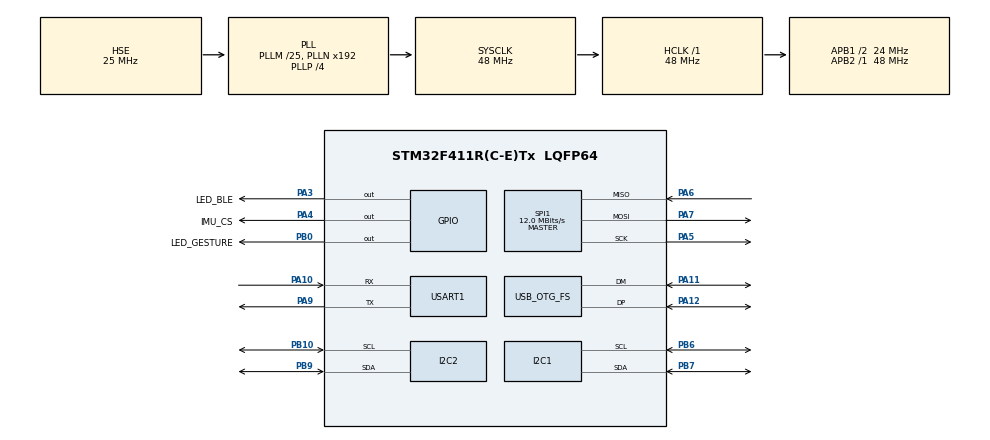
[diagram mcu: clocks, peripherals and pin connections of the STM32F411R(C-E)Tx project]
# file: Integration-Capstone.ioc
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I2C1.I2C_Mode=I2C_Fast
I2C2.I2C_Mode=I2C_Fast
Mcu.Family=STM32F4
Mcu.Name=STM32F411R(C-E)Tx
Mcu.Package=LQFP64
NVIC.OTG_FS_IRQn=true\:0\:0\:false\:false\:true\:false\:true\:true
NVIC.PriorityGroup=NVIC_PRIORITYGROUP_4
PA10.Mode=Asynchronous
PA10.Signal=USART1_RX
PA11.Mode=Device_Only
PA11.Signal=USB_OTG_FS_DM
PA12.Mode=Device_Only
PA12.Signal=USB_OTG_FS_DP
PA3.GPIO_Label=LED_BLE
PA3.GPIO_Speed=GPIO_SPEED_FREQ_MEDIUM
PA3.PinState=GPIO_PIN_SET
PA3.Signal=GPIO_Output
PA4.GPIO_Label=IMU_CS
PA4.GPIO_Speed=GPIO_SPEED_FREQ_MEDIUM
PA4.PinState=GPIO_PIN_SET
PA4.Signal=GPIO_Output
PA5.Mode=Full_Duplex_Master
PA5.Signal=SPI1_SCK
PA6.Mode=Full_Duplex_Master
PA6.Signal=SPI1_MISO
PA7.Mode=Full_Duplex_Master
PA7.Signal=SPI1_MOSI
PA9.Mode=Asynchronous
PA9.Signal=USART1_TX
PB0.GPIO_Label=LED_GESTURE
PB0.GPIO_Speed=GPIO_SPEED_FREQ_MEDIUM
PB0.PinState=GPIO_PIN_SET
PB0.Signal=GPIO_Output
PB10.Mode=I2C
PB10.Signal=I2C2_SCL
PB6.Mode=I2C
PB6.Signal=I2C1_SCL
PB7.Mode=I2C
PB7.Signal=I2C1_SDA
PB9.Mode=I2C
PB9.Signal=I2C2_SDA
PH0\ -\ OSC_IN.Mode=HSE-External-Oscillator
PH0\ -\ OSC_IN.Signal=RCC_OSC_IN
PH1\ -\ OSC_OUT.Mode=HSE-External-Oscillator
PH1\ -\ OSC_OUT.Signal=RCC_OSC_OUT
ProjectManager.HeapSize=0x200
ProjectManager.StackSize=0x400
ProjectManager.TargetToolchain=STM32CubeIDE
RCC.48MHZClocksFreq_Value=48000000
RCC.AHBFreq_Value=48000000
RCC.APB1CLKDivider=RCC_HCLK_DIV2
RCC.APB1Freq_Value=24000000
RCC.APB1TimFreq_Value=48000000
RCC.APB2Freq_Value=48000000
RCC.APB2TimFreq_Value=48000000
RCC.CortexFreq_Value=48000000
RCC.HCLKFreq_Value=48000000
RCC.HSE_VALUE=25000000
RCC.HSI_VALUE=16000000
RCC.LSE_VALUE=32768
RCC.PLLM=25
RCC.PLLP=RCC_PLLP_DIV4
RCC.SYSCLKFreq_VALUE=48000000
RCC.SYSCLKSource=RCC_SYSCLKSOURCE_PLLCLK
RCC.VCOOutputFreq_Value=192000000
SPI1.BaudRatePrescaler=SPI_BAUDRATEPRESCALER_4
SPI1.CalculateBaudRate=12.0 MBits/s
SPI1.Direction=SPI_DIRECTION_2LINES
SPI1.Mode=SPI_MODE_MASTER
SPI1.VirtualType=VM_MASTER
USART1.VirtualMode=VM_ASYNC
USB_DEVICE.CLASS_NAME_FS=CDC
USB_DEVICE.VirtualMode=Cdc
USB_DEVICE.VirtualModeFS=Cdc_FS
USB_OTG_FS.VirtualMode=Device_Only
VP_USB_DEVICE_VS_USB_DEVICE_CDC_FS.Mode=CDC_FS
board=custom

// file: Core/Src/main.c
/* USER CODE BEGIN Header */
/**
  ******************************************************************************
  * @file           : main.c
  * @brief          : Main program body
  ******************************************************************************
  * @attention
  *
  * Copyright (c) 2026 STMicroelectronics.
  * All rights reserved.
  *
  * This software is licensed under terms that can be found in the LICENSE file
  * in the root directory of this software component.
  * If no LICENSE file comes with this software, it is provided AS-IS.
  *
  ******************************************************************************
  */
/* USER CODE END Header */
#include "main.h"
#include "usb_device.h"

/* USER CODE BEGIN Includes */
#include "emg.h"
#include "imu.h"
#include "classifier.h"
#include "servo.h"
#include "ble.h"
/* USER CODE END Includes */

I2C_HandleTypeDef hi2c1;
I2C_HandleTypeDef hi2c2;

SPI_HandleTypeDef hspi1;

UART_HandleTypeDef huart1;

void SystemClock_Config(void);
static void MX_GPIO_Init(void);
static void MX_I2C1_Init(void);
static void MX_I2C2_Init(void);
static void MX_SPI1_Init(void);
static void MX_USART1_UART_Init(void);

int main(void)
{

  /* MCU Configuration--------------------------------------------------------*/

  /* Reset of all peripherals, Initializes the Flash interface and the Systick. */
  HAL_Init();

  /* Configure the system clock */
  SystemClock_Config();

  /* Initialize all configured peripherals */
  MX_GPIO_Init();
  MX_I2C1_Init();
  MX_I2C2_Init();
  MX_SPI1_Init();
  MX_USART1_UART_Init();
  MX_USB_DEVICE_Init();
  /* USER CODE BEGIN 2 */
  EMG_Init(&hi2c1);
  IMU_Init(&hspi1);
  Servo_Init(&hi2c1);
  BLE_Init(&huart1);
  /* USER CODE END 2 */

  /* Infinite loop */
  /* USER CODE BEGIN WHILE */
  int16_t ch1_buf[EMG_WINDOW_SIZE];
  int16_t ch2_buf[EMG_WINDOW_SIZE];
  EMGFeatures features;
  IMUData imu_data;
  Gesture gesture;

  while (1) {
      EMG_CollectWindow(0, ch1_buf, EMG_WINDOW_SIZE);
      EMG_CollectWindow(1, ch2_buf, EMG_WINDOW_SIZE);
      EMG_ComputeFeatures(ch1_buf, ch2_buf, EMG_WINDOW_SIZE, &features);
      IMU_Read(&imu_data);
      gesture = Classifier_Run(&features, &imu_data);
      Servo_SetGesture(gesture);
      BLE_SendTelemetry(gesture, &features, &imu_data);

      HAL_GPIO_TogglePin(GPIOB, GPIO_PIN_0);
    /* USER CODE END WHILE */

  }
}

void SystemClock_Config(void)
{
  RCC_OscInitTypeDef RCC_OscInitStruct = {0};
  RCC_ClkInitTypeDef RCC_ClkInitStruct = {0};

  /** Configure the main internal regulator output voltage
  */
  __HAL_RCC_PWR_CLK_ENABLE();
  __HAL_PWR_VOLTAGESCALING_CONFIG(PWR_REGULATOR_VOLTAGE_SCALE1);

  /** Initializes the RCC Oscillators according to the specified parameters
  * in the RCC_OscInitTypeDef structure.
  */
  RCC_OscInitStruct.OscillatorType = RCC_OSCILLATORTYPE_HSE;
  RCC_OscInitStruct.HSEState = RCC_HSE_ON;
  RCC_OscInitStruct.PLL.PLLState = RCC_PLL_ON;
  RCC_OscInitStruct.PLL.PLLSource = RCC_PLLSOURCE_HSE;
  RCC_OscInitStruct.PLL.PLLM = 25;
  RCC_OscInitStruct.PLL.PLLN = 192;
  RCC_OscInitStruct.PLL.PLLP = RCC_PLLP_DIV4;
  RCC_OscInitStruct.PLL.PLLQ = 4;
  if (HAL_RCC_OscConfig(&RCC_OscInitStruct) != HAL_OK)
  {
    Error_Handler();
  }

  /** Initializes the CPU, AHB and APB buses clocks
  */
  RCC_ClkInitStruct.ClockType = RCC_CLOCKTYPE_HCLK|RCC_CLOCKTYPE_SYSCLK
                              |RCC_CLOCKTYPE_PCLK1|RCC_CLOCKTYPE_PCLK2;
  RCC_ClkInitStruct.SYSCLKSource = RCC_SYSCLKSOURCE_PLLCLK;
  RCC_ClkInitStruct.AHBCLKDivider = RCC_SYSCLK_DIV1;
  RCC_ClkInitStruct.APB1CLKDivider = RCC_HCLK_DIV2;
  RCC_ClkInitStruct.APB2CLKDivider = RCC_HCLK_DIV1;

  if (HAL_RCC_ClockConfig(&RCC_ClkInitStruct, FLASH_LATENCY_1) != HAL_OK)
  {
    Error_Handler();
  }
}

static void MX_I2C1_Init(void)
{

  hi2c1.Instance = I2C1;
  hi2c1.Init.ClockSpeed = 400000;
  hi2c1.Init.DutyCycle = I2C_DUTYCYCLE_2;
  hi2c1.Init.OwnAddress1 = 0;
  hi2c1.Init.AddressingMode = I2C_ADDRESSINGMODE_7BIT;
  hi2c1.Init.DualAddressMode = I2C_DUALADDRESS_DISABLE;
  hi2c1.Init.OwnAddress2 = 0;
  hi2c1.Init.GeneralCallMode = I2C_GENERALCALL_DISABLE;
  hi2c1.Init.NoStretchMode = I2C_NOSTRETCH_DISABLE;
  if (HAL_I2C_Init(&hi2c1) != HAL_OK)
  {
    Error_Handler();
  }

}

static void MX_I2C2_Init(void)
{

  hi2c2.Instance = I2C2;
  hi2c2.Init.ClockSpeed = 400000;
  hi2c2.Init.DutyCycle = I2C_DUTYCYCLE_2;
  hi2c2.Init.OwnAddress1 = 0;
  hi2c2.Init.AddressingMode = I2C_ADDRESSINGMODE_7BIT;
  hi2c2.Init.DualAddressMode = I2C_DUALADDRESS_DISABLE;
  hi2c2.Init.OwnAddress2 = 0;
  hi2c2.Init.GeneralCallMode = I2C_GENERALCALL_DISABLE;
  hi2c2.Init.NoStretchMode = I2C_NOSTRETCH_DISABLE;
  if (HAL_I2C_Init(&hi2c2) != HAL_OK)
  {
    Error_Handler();
  }

}

static void MX_SPI1_Init(void)
{

  /* SPI1 parameter configuration*/
  hspi1.Instance = SPI1;
  hspi1.Init.Mode = SPI_MODE_MASTER;
  hspi1.Init.Direction = SPI_DIRECTION_2LINES;
  hspi1.Init.DataSize = SPI_DATASIZE_8BIT;
  hspi1.Init.CLKPolarity = SPI_POLARITY_LOW;
  hspi1.Init.CLKPhase = SPI_PHASE_1EDGE;
  hspi1.Init.NSS = SPI_NSS_SOFT;
  hspi1.Init.BaudRatePrescaler = SPI_BAUDRATEPRESCALER_4;
  hspi1.Init.FirstBit = SPI_FIRSTBIT_MSB;
  hspi1.Init.TIMode = SPI_TIMODE_DISABLE;
  hspi1.Init.CRCCalculation = SPI_CRCCALCULATION_DISABLE;
  hspi1.Init.CRCPolynomial = 10;
  if (HAL_SPI_Init(&hspi1) != HAL_OK)
  {
    Error_Handler();
  }

}

static void MX_USART1_UART_Init(void)
{

  huart1.Instance = USART1;
  huart1.Init.BaudRate = 115200;
  huart1.Init.WordLength = UART_WORDLENGTH_8B;
  huart1.Init.StopBits = UART_STOPBITS_1;
  huart1.Init.Parity = UART_PARITY_NONE;
  huart1.Init.Mode = UART_MODE_TX_RX;
  huart1.Init.HwFlowCtl = UART_HWCONTROL_NONE;
  huart1.Init.OverSampling = UART_OVERSAMPLING_16;
  if (HAL_UART_Init(&huart1) != HAL_OK)
  {
    Error_Handler();
  }

}

static void MX_GPIO_Init(void)
{
  GPIO_InitTypeDef GPIO_InitStruct = {0};

  /* GPIO Ports Clock Enable */
  __HAL_RCC_GPIOH_CLK_ENABLE();
  __HAL_RCC_GPIOA_CLK_ENABLE();
  __HAL_RCC_GPIOB_CLK_ENABLE();

  /*Configure GPIO pin Output Level */
  HAL_GPIO_WritePin(GPIOA, LED_BLE_Pin|IMU_CS_Pin, GPIO_PIN_SET);

  /*Configure GPIO pin Output Level */
  HAL_GPIO_WritePin(LED_GESTURE_GPIO_Port, LED_GESTURE_Pin, GPIO_PIN_SET);

  /*Configure GPIO pins : LED_BLE_Pin IMU_CS_Pin */
  GPIO_InitStruct.Pin = LED_BLE_Pin|IMU_CS_Pin;
  GPIO_InitStruct.Mode = GPIO_MODE_OUTPUT_PP;
  GPIO_InitStruct.Pull = GPIO_NOPULL;
  GPIO_InitStruct.Speed = GPIO_SPEED_FREQ_MEDIUM;
  HAL_GPIO_Init(GPIOA, &GPIO_InitStruct);

  /*Configure GPIO pin : LED_GESTURE_Pin */
  GPIO_InitStruct.Pin = LED_GESTURE_Pin;
  GPIO_InitStruct.Mode = GPIO_MODE_OUTPUT_PP;
  GPIO_InitStruct.Pull = GPIO_NOPULL;
  GPIO_InitStruct.Speed = GPIO_SPEED_FREQ_MEDIUM;
  HAL_GPIO_Init(LED_GESTURE_GPIO_Port, &GPIO_InitStruct);

}

void Error_Handler(void)
{
  __disable_irq();
  while (1)
  {
  }
}
